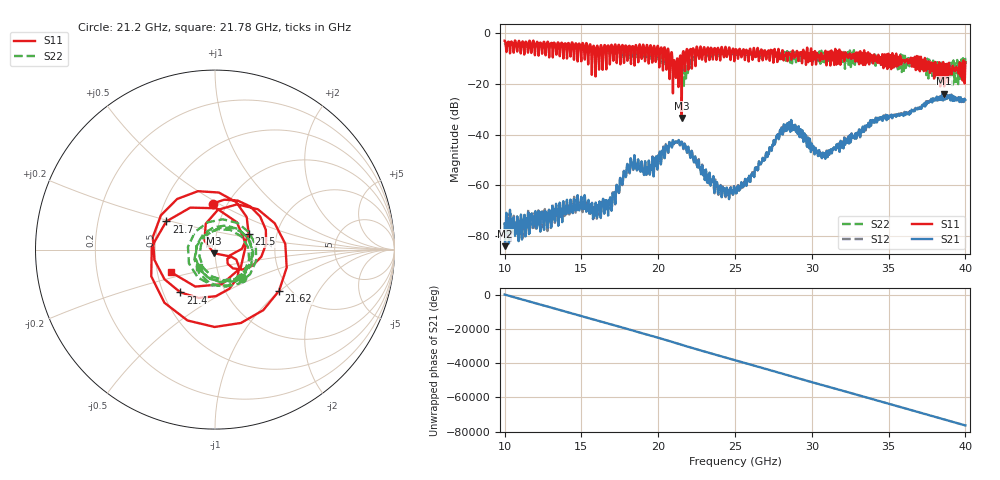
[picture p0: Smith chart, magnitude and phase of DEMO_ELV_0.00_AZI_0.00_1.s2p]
! 11/3/2026 12:46:14 PM
! C:\ANRITSUVNA\TEMP\TEMP.S2P
! CHANNEL.1
! TR.MEASUREMENT
! RAW.DATA
# HZ S RI R 50.0
! FREQ.HZ  S11RE  S11IM  S21RE  S21IM  S12RE  S12IM  S22RE  S22IM
!; PortSelection: Port_12
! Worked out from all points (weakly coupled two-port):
!   3001 points, 10 GHz to 40 GHz, reference 50 ohm
!   highest |S21| = -23.90 dB at 38.62 GHz (marker M1); lowest = -83.8 dB at 10.03 GHz (marker M2)
!   lowest |S11| = -33.5 dB at 21.53 GHz (marker M3), VSWR 1.04, Z = 49.3 - j1.96 ohm
!   |S11| at or under -10 dB: 20.92 GHz to 21.4 GHz (489.9 MHz wide, 2.31 % of centre); 35.78 GHz to 36.44 GHz (663.6 MHz wide, 1.84 % of centre); 37.37 GHz to end of sweep (the widest 3 of 115)
!   |S22| runs from -21.6 to -4.6 dB; largest |S21 - S12| = 0.079
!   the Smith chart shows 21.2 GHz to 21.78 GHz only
!   S11 on the Smith chart (normalised r, x): 21.2 GHz: 0.86, +0.47; 21.4 GHz: 0.61, -0.32; 21.5 GHz: 1.44, +0.26; 21.62 GHz: 1.76, -0.98; 21.7 GHz: 0.55, +0.19; 21.78 GHz: 0.59, -0.16
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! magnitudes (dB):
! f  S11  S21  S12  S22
! 10 GHz  -3.2  -74.9  -75.4  -4.7
! 10.03 GHz  -3.4  -83.8  -77.0  -4.6
! 15 GHz  -10.2  -64.6  -64.6  -6.5
! 16.84 GHz  -11.3  -66.6  -66.6  -7.1
! 18.11 GHz  -5.2  -53.9  -54.2  -8.2
! 20 GHz  -5.7  -49.1  -49.2  -7.8
! 21.2 GHz  -11.8  -43.0  -43.1  -13.2
! 21.4 GHz  -10.3  -44.0  -43.9  -20.1
! 21.5 GHz  -13.7  -42.9  -42.9  -17.0
! 21.53 GHz  -33.5  -42.8  -42.8  -19.3
! 21.62 GHz  -7.4  -45.1  -45.1  -15.0
! 21.7 GHz  -10.1  -44.0  -43.7  -14.9
! 21.78 GHz  -11.2  -44.4  -44.3  -17.4
! 22.69 GHz  -8.9  -52.8  -52.8  -8.0
! 24.02 GHz  -10.0  -61.0  -61.0  -9.1
! 25 GHz  -7.5  -62.2  -61.4  -8.3
! 28.3 GHz  -8.4  -36.2  -35.9  -8.8
! 30 GHz  -10.6  -43.6  -43.7  -8.0
! 30.9 GHz  -7.4  -48.9  -48.7  -7.7
! 35 GHz  -8.5  -33.4  -33.3  -11.0
! 38.62 GHz  -21.1  -23.9  -23.8  -16.7
! 40 GHz  -11.6  -26.5  -26.5  -12.3
